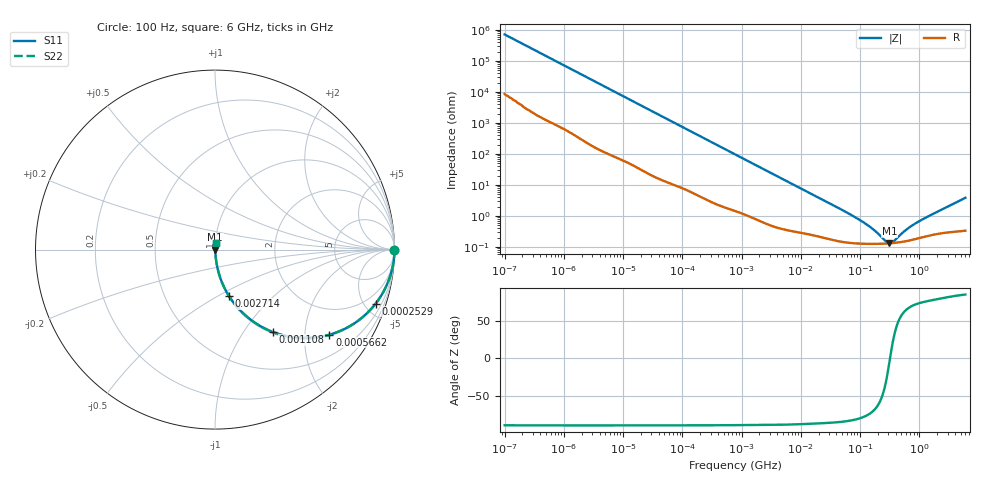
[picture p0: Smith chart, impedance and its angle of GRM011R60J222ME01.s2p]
!Murata Part Number: GRM011R60J222ME01
!These Parameters are Measured in Series Mode Connection
!Data Generated on Mar 30, 2021
!  o--ll--o
!Port1  Port2
!  o------o
!Operation Temp=25[degC], DC Bias Voltage=0[V]
!Freq. Start=100[Hz] Stop=6[GHz] 401[Steps]
# Hz S RI R 50
!Freq.(Hz) S11(Real) S11(Imag) S21(Real) S21(Imag) S12(Real) S12(Imag) S22(Real) S22(Imag)
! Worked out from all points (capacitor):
!   401 points, 100 Hz to 6 GHz, reference 50 ohm
!   read as one part in series: C = 2.21 nF near 109 Hz
!   lowest |Z| = 132 mohm at 312.4 MHz (marker M1)
!   series resonance near 320.6 MHz, so ESL is about 110 pH
!   S11 on the Smith chart (normalised r, x): 100 Hz: open; 252.9 kHz: 1.07, -5.93; 566.2 kHz: 1.04, -2.66; 1.108 MHz: 1.02, -1.37; 2.714 MHz: 1.01, -0.56; 6 GHz: 1.01, +0.08
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100  1 -0.000139  1.7e-06 0.000139  1.7e-06 0.000139  1 -0.000139
2008  1 -0.00275  2.94e-05 0.00275  2.94e-05 0.00275  1 -0.00275
40335  0.9966 -0.0542  0.00342 0.0542  0.00342 0.0542  0.9966 -0.0542
108014  0.978 -0.1416  0.022 0.1416  0.022 0.1416  0.978 -0.1416
252896  0.8951 -0.3008  0.1049 0.3008  0.1049 0.3008  0.8951 -0.3008
378399  0.7948 -0.3979  0.2052 0.3979  0.2052 0.3979  0.7948 -0.3979
566185  0.6372 -0.4742  0.3628 0.4742  0.3628 0.4742  0.6372 -0.4742
774597  0.4875 -0.4925  0.5125 0.4925  0.5125 0.4925  0.4875 -0.4925
1108252  0.3214 -0.4588  0.6786 0.4588  0.6786 0.4588  0.3214 -0.4588
1734173  0.1661 -0.3633  0.8339 0.3633  0.8339 0.3633  0.1661 -0.3633
2713602  0.0778 -0.2584  0.9222 0.2584  0.9222 0.2584  0.0778 -0.2584
6075234  0.019 -0.1237  0.981 0.1237  0.981 0.1237  0.019 -0.1237
1.555665e7  0.0049 -0.0497  0.9951 0.0497  0.9951 0.0497  0.0049 -0.0497
5.211241e7  0.00166 -0.0149  0.9983 0.0149  0.9983 0.0149  0.00166 -0.0149
1.066761e8  0.00132 -0.00666  0.9987 0.00666  0.9987 0.00666  0.00132 -0.00666
1.745687e8  0.00127 -0.00322  0.9987 0.00322  0.9987 0.00322  0.00127 -0.00322
2.731619e8  0.00129 -0.000797  0.9987 0.000797  0.9987 0.000797  0.00129 -0.000797
3.124326e8  0.00131 -0.000127  0.9987 0.000127  0.9987 0.000127  0.00131 -0.000127
3.573489e8  0.00134 0.000538  0.9987 -0.000538  0.9987 -0.000538  0.00134 0.000538
5.847788e8  0.00153 0.00309  0.9985 -0.00309  0.9985 -0.00309  0.00153 0.00309
9.150511e8  0.00188 0.00589  0.9981 -0.00589  0.9981 -0.00589  0.00188 0.00589
6e9  0.00481 0.0383  0.9952 -0.0383  0.9952 -0.0383  0.00481 0.0383
